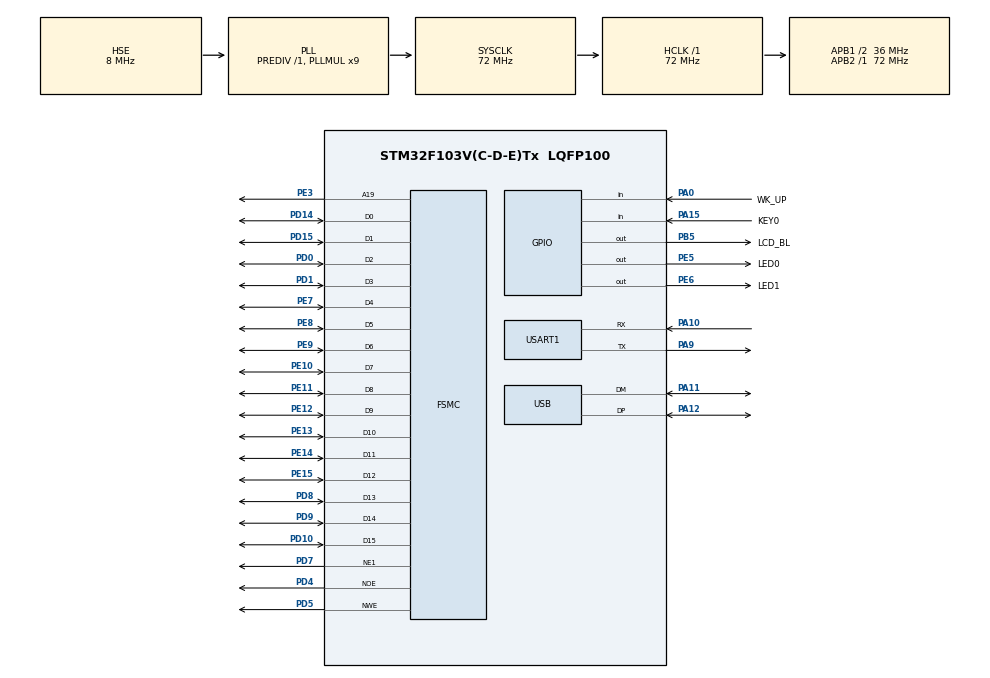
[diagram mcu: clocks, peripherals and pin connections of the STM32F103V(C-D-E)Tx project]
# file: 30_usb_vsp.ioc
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FSMC.AddressSetupTime1=0
FSMC.DataSetupTime1=15
FSMC.ExtendedAddressSetupTime1=0
FSMC.ExtendedDataSetupTime1=1
FSMC.ExtendedMode1=FSMC_EXTENDED_MODE_ENABLE
Mcu.Family=STM32F1
Mcu.Name=STM32F103V(C-D-E)Tx
Mcu.Package=LQFP100
NVIC.PriorityGroup=NVIC_PRIORITYGROUP_2
NVIC.TIM4_IRQn=true\:2\:1\:true\:false\:true\:true\:true\:true
NVIC.USART1_IRQn=true\:2\:2\:true\:false\:true\:true\:true\:true
NVIC.USB_LP_CAN1_RX0_IRQn=true\:2\:1\:true\:false\:true\:false\:true\:true
OSC_IN.Mode=HSE-External-Oscillator
OSC_IN.Signal=RCC_OSC_IN
OSC_OUT.Mode=HSE-External-Oscillator
OSC_OUT.Signal=RCC_OSC_OUT
PA0-WKUP.GPIO_Label=WK_UP
PA0-WKUP.GPIO_PuPd=GPIO_PULLDOWN
PA0-WKUP.Signal=GPIO_Input
PA10.Mode=Asynchronous
PA10.Signal=USART1_RX
PA11.Mode=Device
PA11.Signal=USB_DM
PA12.Mode=Device
PA12.Signal=USB_DP
PA13.Mode=Serial_Wire
PA13.Signal=SYS_JTMS-SWDIO
PA14.Mode=Serial_Wire
PA14.Signal=SYS_JTCK-SWCLK
PA15.GPIO_Label=KEY0
PA15.GPIO_PuPd=GPIO_PULLDOWN
PA15.Signal=GPIO_Input
PA9.Mode=Asynchronous
PA9.Signal=USART1_TX
PB5.GPIO_Label=LCD_BL
PB5.GPIO_PuPd=GPIO_PULLUP
PB5.GPIO_Speed=GPIO_SPEED_FREQ_HIGH
PB5.PinState=GPIO_PIN_SET
PB5.Signal=GPIO_Output
PC14-OSC32_IN.Mode=LSE-External-Oscillator
PC14-OSC32_IN.Signal=RCC_OSC32_IN
PC15-OSC32_OUT.Mode=LSE-External-Oscillator
PC15-OSC32_OUT.Signal=RCC_OSC32_OUT
PD0.Mode=16b-d1
PD0.Signal=FSMC_D2
PD1.Mode=16b-d1
PD1.Signal=FSMC_D3
PD10.Mode=16b-d1
PD10.Signal=FSMC_D15
PD14.Mode=16b-d1
PD14.Signal=FSMC_D0
PD15.Mode=16b-d1
PD15.Signal=FSMC_D1
PD4.Mode=Lcd1
PD4.Signal=FSMC_NOE
PD5.Mode=Lcd1
PD5.Signal=FSMC_NWE
PD7.Mode=NorPsramChipSelect1_1
PD7.Signal=FSMC_NE1
PD8.Mode=16b-d1
PD8.Signal=FSMC_D13
PD9.Mode=16b-d1
PD9.Signal=FSMC_D14
PE10.Mode=16b-d1
PE10.Signal=FSMC_D7
PE11.Mode=16b-d1
PE11.Signal=FSMC_D8
PE12.Mode=16b-d1
PE12.Signal=FSMC_D9
PE13.Mode=16b-d1
PE13.Signal=FSMC_D10
PE14.Mode=16b-d1
PE14.Signal=FSMC_D11
PE15.Mode=16b-d1
PE15.Signal=FSMC_D12
PE3.Mode=A19_1
PE3.Signal=FSMC_A19
PE5.GPIO_Label=LED0
PE5.GPIO_PuPd=GPIO_PULLUP
PE5.GPIO_Speed=GPIO_SPEED_FREQ_HIGH
PE5.PinState=GPIO_PIN_SET
PE5.Signal=GPIO_Output
PE6.GPIO_Label=LED1
PE6.GPIO_PuPd=GPIO_PULLUP
PE6.GPIO_Speed=GPIO_SPEED_FREQ_HIGH
PE6.PinState=GPIO_PIN_SET
PE6.Signal=GPIO_Output
PE7.Mode=16b-d1
PE7.Signal=FSMC_D4
PE8.Mode=16b-d1
PE8.Signal=FSMC_D5
PE9.Mode=16b-d1
PE9.Signal=FSMC_D6
ProjectManager.HeapSize=0x200
ProjectManager.StackSize=0x400
ProjectManager.TargetToolchain=STM32CubeIDE
RCC.AHBFreq_Value=72000000
RCC.APB1CLKDivider=RCC_HCLK_DIV2
RCC.APB1Freq_Value=36000000
RCC.APB1TimFreq_Value=72000000
RCC.APB2Freq_Value=72000000
RCC.APB2TimFreq_Value=72000000
RCC.HCLKFreq_Value=72000000
RCC.PLLMUL=RCC_PLL_MUL9
RCC.PLLSourceVirtual=RCC_PLLSOURCE_HSE
RCC.SYSCLKFreq_VALUE=72000000
RCC.SYSCLKSource=RCC_SYSCLKSOURCE_PLLCLK
RCC.USBFreq_Value=48000000
RCC.USBPrescaler=RCC_USBCLKSOURCE_PLL_DIV1_5
TIM4.AutoReloadPreload=TIM_AUTORELOAD_PRELOAD_ENABLE
TIM4.Period=1000-1
TIM4.Prescaler=7200-1
USART1.VirtualMode=VM_ASYNC
USB_DEVICE.CLASS_NAME_FS=CDC
USB_DEVICE.VirtualMode=Cdc
USB_DEVICE.VirtualModeFS=Cdc_FS
VP_TIM4_VS_ClockSourceINT.Mode=Internal
VP_USB_DEVICE_VS_USB_DEVICE_CDC_FS.Mode=CDC_FS
board=custom

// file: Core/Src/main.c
/* USER CODE BEGIN Header */
/**
 ****************************************************************************************************
 * @file        main.c
 * @author      ALIENTEK
 * @brief       USB Virtual Serial Port code
 * @license     Copyright (C) 2012-2024, ALIENTEK
 ****************************************************************************************************
 * @attention
 *
 * platform     : ALIENTEK M100-STM32F103 board
 * website      : www.alientek.com
 * forum        : www.openedv.com/forum.php
 *
 * change logs  :
 * version      data         notes
 * V1.0         20240409     the first version
 *
 ****************************************************************************************************
 */
/* USER CODE END Header */
#include "main.h"
#include "tim.h"
#include "usart.h"
#include "usb_device.h"
#include "gpio.h"
#include "fsmc.h"

/* USER CODE BEGIN Includes */
#include "../../ATK_Middlewares/MALLOC/malloc.h"
#include "../../BSP/LED/led.h"
#include "../../BSP/KEY/key.h"
#include "../../BSP/LCD/lcd.h"
#include "usbd_cdc_if.h"
/* USER CODE END Includes */

/* USER CODE BEGIN PTD */
extern volatile uint8_t g_device_state;     /* USB connection condition */
/* USER CODE END PTD */

void SystemClock_Config(void);

/* USER CODE BEGIN 0 */
/**
 * @brief   Displays information about the experiment
 * @param   None
 * @retval  None
 */
void stm32f103ve_show_mesg(void)
{
	/* The serial port outputs the experimental information */
	printf("\n");
	printf("********************************\r\n");
	printf("STM32F103\r\n");
	printf("USB_VSP Test\r\n");
	printf("ATOM@ALIENTEK\r\n");
	printf("********************************\r\n");
	printf("\r\n");
}
/* USER CODE END 0 */

int main(void)
{
  /* USER CODE BEGIN 1 */
  uint16_t len;
  uint16_t times = 0;
  uint8_t usbstatus = 0;
  /* USER CODE END 1 */

  /* MCU Configuration--------------------------------------------------------*/

  /* Reset of all peripherals, Initializes the Flash interface and the Systick. */
  HAL_Init();

  /* Configure the system clock */
  SystemClock_Config();

  /* Initialize all configured peripherals */
  MX_GPIO_Init();
  MX_USART1_UART_Init();
  MX_FSMC_Init();
  MX_TIM4_Init();
  MX_USB_DEVICE_Init();
  /* USER CODE BEGIN 2 */
  lcd_init();                         /* Initialize LCD */
  my_mem_init(SRAMIN);                /* Initialize the internal SRAM memory pool */
  stm32f103ve_show_mesg();
  lcd_show_string(30, 50, 200, 16, 16, "STM32", RED);
  lcd_show_string(30, 70, 200, 16, 16, "USB_VSP TEST", RED);
  lcd_show_string(30, 90, 200, 16, 16, "ATOM@ALIENTEK", RED);

  lcd_show_string(30, 110, 200, 16, 16, "USB Connecting...", RED); /* Prompts USB to start connecting */

  usbd_port_config(0);    /* The usb cable is disconnected */
  HAL_Delay(500);
  usbd_port_config(1);    /* USB connection again */
  HAL_Delay(500);
  /* USER CODE END 2 */

  /* Infinite loop */
  /* USER CODE BEGIN WHILE */
  while (1)
  {
    if (usbstatus != g_device_state)   /* The USB connection state has changed */
    {
      usbstatus = g_device_state;    /* Logging new status */

      if (usbstatus == 1)
      {
        lcd_show_string(30, 110, 200, 16, 16, "USB Connected    ", RED); /* USB connection is successful */
        LED1(0);    /* LED1 flashes */
      }
      else
      {
        lcd_show_string(30, 110, 200, 16, 16, "USB disConnected ", RED); /* USB disconnection is prompted */
        LED1(1);    /* turn off LED1 */
      }
    }

    if (g_usb_usart_rx_sta & 0x8000)
    {
      len = g_usb_usart_rx_sta & 0x3FFF;  /* Get the length of the received data */
      usb_printf("\r\nThe length of the message you send is:%d\r\n\r\n", len);
      cdc_vcp_data_tx(g_usb_usart_rx_buffer, len);;
      usb_printf("\r\n\r\n");            /* Inserting line breaks */
      g_usb_usart_rx_sta = 0;
    }
    else
    {
      times++;

      if (times % 5000 == 0)
      {
        usb_printf("\r\nUSB Virtual USART TEST\r\n");
        usb_printf("ALIENTEK@ALIENTEK\r\n\r\n");
      }

      if (times % 200 == 0)usb_printf("Please enter data and end with the ENTER key\r\n");

      if (times % 30 == 0)
      {
        LED0_TOGGLE();     /* LED0 blinks to indicate that the code is running */
      }

      HAL_Delay(10);       /* delay 10ms */
    }
    /* USER CODE END WHILE */

  }
}

void SystemClock_Config(void)
{
  RCC_OscInitTypeDef RCC_OscInitStruct = {0};
  RCC_ClkInitTypeDef RCC_ClkInitStruct = {0};
  RCC_PeriphCLKInitTypeDef PeriphClkInit = {0};

  /** Initializes the RCC Oscillators according to the specified parameters
  * in the RCC_OscInitTypeDef structure.
  */
  RCC_OscInitStruct.OscillatorType = RCC_OSCILLATORTYPE_HSE;
  RCC_OscInitStruct.HSEState = RCC_HSE_ON;
  RCC_OscInitStruct.HSEPredivValue = RCC_HSE_PREDIV_DIV1;
  RCC_OscInitStruct.HSIState = RCC_HSI_ON;
  RCC_OscInitStruct.PLL.PLLState = RCC_PLL_ON;
  RCC_OscInitStruct.PLL.PLLSource = RCC_PLLSOURCE_HSE;
  RCC_OscInitStruct.PLL.PLLMUL = RCC_PLL_MUL9;
  if (HAL_RCC_OscConfig(&RCC_OscInitStruct) != HAL_OK)
  {
    Error_Handler();
  }

  /** Initializes the CPU, AHB and APB buses clocks
  */
  RCC_ClkInitStruct.ClockType = RCC_CLOCKTYPE_HCLK|RCC_CLOCKTYPE_SYSCLK
                              |RCC_CLOCKTYPE_PCLK1|RCC_CLOCKTYPE_PCLK2;
  RCC_ClkInitStruct.SYSCLKSource = RCC_SYSCLKSOURCE_PLLCLK;
  RCC_ClkInitStruct.AHBCLKDivider = RCC_SYSCLK_DIV1;
  RCC_ClkInitStruct.APB1CLKDivider = RCC_HCLK_DIV2;
  RCC_ClkInitStruct.APB2CLKDivider = RCC_HCLK_DIV1;

  if (HAL_RCC_ClockConfig(&RCC_ClkInitStruct, FLASH_LATENCY_2) != HAL_OK)
  {
    Error_Handler();
  }
  PeriphClkInit.PeriphClockSelection = RCC_PERIPHCLK_USB;
  PeriphClkInit.UsbClockSelection = RCC_USBCLKSOURCE_PLL_DIV1_5;
  if (HAL_RCCEx_PeriphCLKConfig(&PeriphClkInit) != HAL_OK)
  {
    Error_Handler();
  }
}

void Error_Handler(void)
{
  __disable_irq();
  while (1)
  {
  }
}
